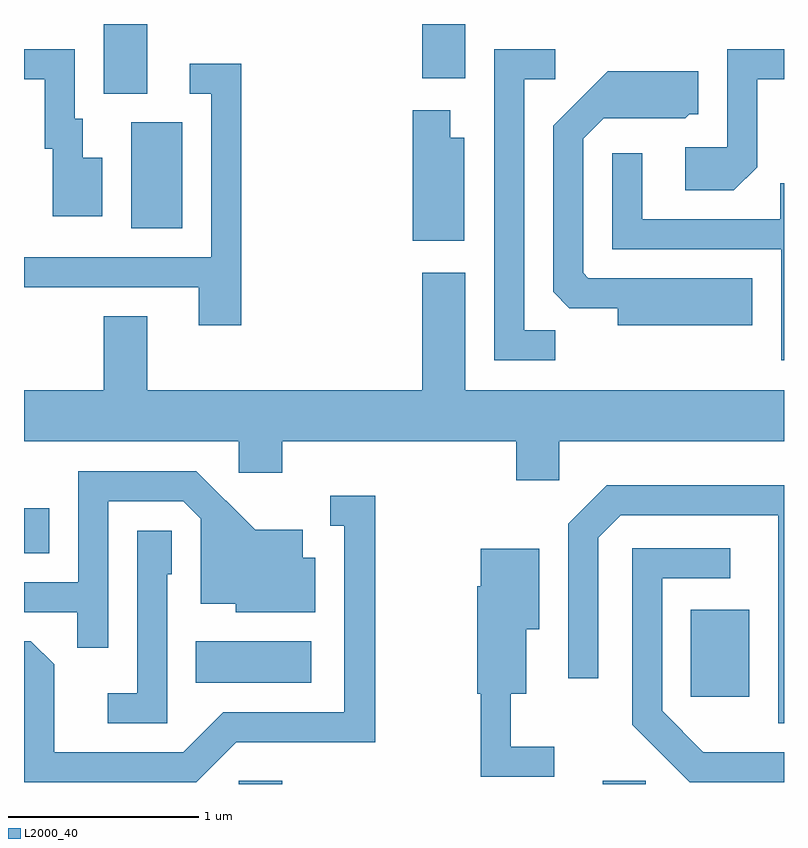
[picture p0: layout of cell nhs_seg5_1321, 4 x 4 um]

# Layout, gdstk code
import gdstk
lib = gdstk.Library(unit=1e-6, precision=1e-09)
def R(c, l, rs):  # rectangles x0, y0, x1, y1
    for r in rs: c.add(gdstk.rectangle(r[:2], r[2:], *l))
def P(c, l, *ps):  # polygons
    for p in ps: c.add(gdstk.Polygon(p, *l))
L2000_40 = (2000, 40)

nhs_seg5_1321 = lib.new_cell('nhs_seg5_1321')
R(nhs_seg5_1321, L2000_40, [(224.741,1486.072,224.969,1486.089), (226.656,1486.072,226.884,1486.089), (227.121,1486.531,227.429,1486.989), (224.516,1486.606,225.124,1486.824), (223.611,1487.286,223.744,1487.523), (224.176,1488.996,224.444,1489.554), (224.031,1489.706,224.259,1490.072), (225.706,1489.786,225.934,1490.072)])
P(nhs_seg5_1321, L2000_40, [(227.469,1489.319),(227.469,1489.781),(227.611,1489.781),(227.611,1489.939),(227.311,1489.939),(227.311,1489.424),(227.091,1489.424),(227.091,1489.196),(227.347,1489.196)],
  [(226.408,1488.459),(226.244,1488.459),(226.244,1489.781),(226.408,1489.781),(226.408,1489.939),(226.086,1489.939),(226.086,1488.301),(226.408,1488.301)],
  [(224.024,1489.369),(223.919,1489.369),(223.919,1489.574),(223.879,1489.574),(223.879,1489.939),(223.611,1489.939),(223.611,1489.781),(223.721,1489.781),(223.721,1489.416),(223.761,1489.416),(223.761,1489.061),(224.024,1489.061)],
  [(224.754,1489.864),(224.483,1489.864),(224.483,1489.706),(224.596,1489.706),(224.596,1488.844),(223.611,1488.844),(223.611,1488.686),(224.531,1488.686),(224.531,1488.486),(224.754,1488.486)],
  [(227.444,1488.734),(226.582,1488.734),(226.554,1488.762),(226.554,1489.469),(226.662,1489.576),(227.092,1489.576),(227.112,1489.596),(227.159,1489.596),(227.159,1489.824),(226.684,1489.824),(226.396,1489.537),(226.396,1488.662),(226.482,1488.576),(226.736,1488.576),(226.736,1488.486),(227.444,1488.486)],
  [(225.929,1489.474),(225.854,1489.474),(225.854,1489.619),(225.656,1489.619),(225.656,1488.931),(225.929,1488.931)],
  [(227.611,1489.233),(227.591,1489.233),(227.591,1489.044),(226.864,1489.044),(226.864,1489.393),(226.706,1489.393),(226.706,1488.886),(227.596,1488.886),(227.596,1488.301),(227.611,1488.301)],
  [(226.429,1487.876),(227.611,1487.876),(227.611,1488.144),(225.934,1488.144),(225.934,1488.764),(225.706,1488.764),(225.706,1488.144),(224.259,1488.144),(224.259,1488.534),(224.031,1488.534),(224.031,1488.144),(223.611,1488.144),(223.611,1487.876),(224.741,1487.876),(224.741,1487.711),(224.969,1487.711),(224.969,1487.876),(226.201,1487.876),(226.201,1487.671),(226.429,1487.671)],
  [(224.054,1487.561),(224.449,1487.561),(224.541,1487.469),(224.541,1487.021),(224.726,1487.021),(224.726,1486.976),(225.144,1486.976),(225.144,1487.264),(225.079,1487.264),(225.079,1487.409),(224.827,1487.409),(224.517,1487.719),(223.896,1487.719),(223.896,1487.134),(223.611,1487.134),(223.611,1486.976),(223.891,1486.976),(223.891,1486.788),(224.054,1486.788)],
  [(227.611,1487.644),(226.679,1487.644),(226.476,1487.442),(226.476,1486.628),(226.634,1486.628),(226.634,1487.369),(226.752,1487.486),(227.581,1487.486),(227.581,1486.391),(227.611,1486.391)],
  [(224.727,1486.291),(225.459,1486.291),(225.459,1487.589),(225.223,1487.589),(225.223,1487.431),(225.296,1487.431),(225.296,1486.449),(224.659,1486.449),(224.449,1486.239),(223.769,1486.239),(223.769,1486.702),(223.647,1486.824),(223.611,1486.824),(223.611,1486.081),(224.517,1486.081)],
  [(224.364,1487.176),(224.389,1487.176),(224.389,1487.404),(224.206,1487.404),(224.206,1486.549),(224.053,1486.549),(224.053,1486.391),(224.364,1486.391)],
  [(227.611,1486.239),(227.187,1486.239),(226.969,1486.457),(226.969,1487.156),(227.328,1487.156),(227.328,1487.314),(226.811,1487.314),(226.811,1486.384),(227.114,1486.081),(227.611,1486.081)],
  [(226.403,1486.269),(226.174,1486.269),(226.174,1486.546),(226.254,1486.546),(226.254,1486.886),(226.324,1486.886),(226.324,1487.309),(226.016,1487.309),(226.016,1487.114),(225.996,1487.114),(225.996,1486.546),(226.016,1486.546),(226.016,1486.111),(226.403,1486.111)])

lib.write_gds('nhs_seg5_1321.gds')
